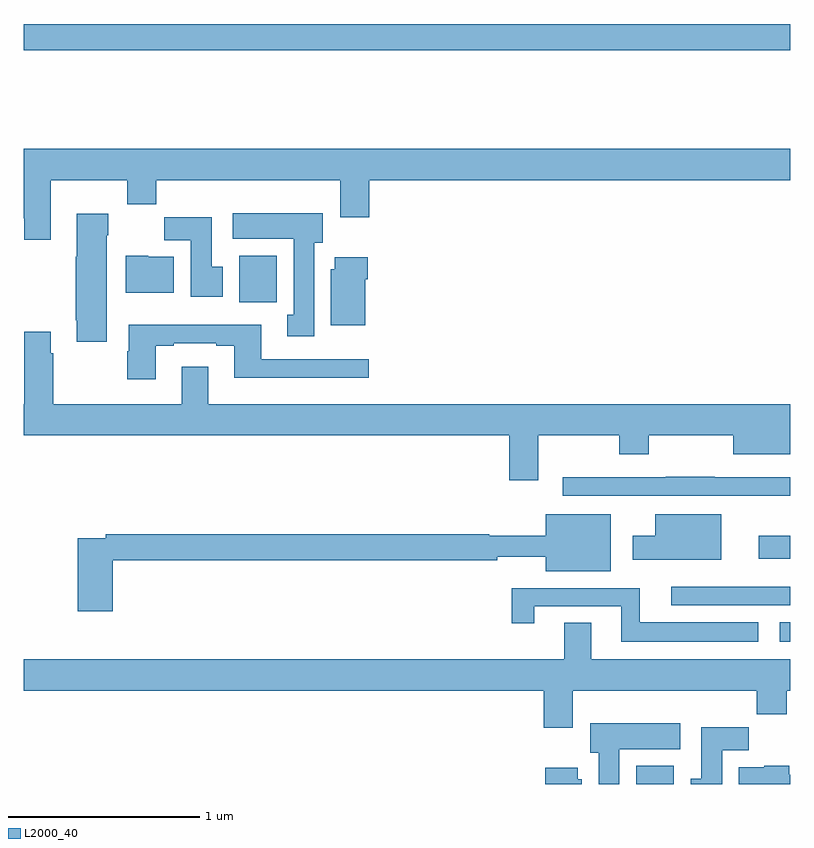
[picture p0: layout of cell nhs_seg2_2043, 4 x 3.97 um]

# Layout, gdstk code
import gdstk
lib = gdstk.Library(unit=1e-6, precision=1e-09)
def R(c, l, rs):  # rectangles x0, y0, x1, y1
    for r in rs: c.add(gdstk.rectangle(r[:2], r[2:], *l))
def P(c, l, *ps):  # polygons
    for p in ps: c.add(gdstk.Polygon(p, *l))
L2000_40 = (2000, 40)

nhs_seg2_2043 = lib.new_cell('nhs_seg2_2043')
R(nhs_seg2_2043, L2000_40, [(220.196,661.8,220.393,661.894), (220.947,662.543,221,662.644), (220.38,662.733,221,662.83), (220.836,662.975,221,663.097), (218.123,664.316,218.32,664.558), (217,665.632,221,665.768)])
P(nhs_seg2_2043, L2000_40, [(217.141,664.952),(217.54,664.952),(217.54,664.828),(217.691,664.828),(217.691,664.952),(218.651,664.952),(218.651,664.758),(218.804,664.758),(218.804,664.952),(221,664.952),(221,665.116),(217,665.116),(217,664.753),(217.001,664.753),(217.001,664.641),(217.141,664.641)],
  [(218.515,664.626),(218.56,664.626),(218.56,664.78),(218.091,664.78),(218.091,664.646),(218.408,664.646),(218.408,664.25),(218.375,664.25),(218.375,664.137),(218.515,664.137)],
  [(217.432,664.664),(217.44,664.664),(217.44,664.777),(217.277,664.777),(217.277,664.553),(217.27,664.553),(217.27,664.222),(217.277,664.222),(217.277,664.11),(217.432,664.11)],
  [(218.038,664.5),(217.981,664.5),(217.981,664.759),(217.732,664.759),(217.732,664.64),(217.871,664.64),(217.871,664.344),(218.038,664.344)],
  [(217.783,664.552),(217.65,664.552),(217.65,664.558),(217.532,664.558),(217.532,664.364),(217.783,664.364)],
  [(218.782,664.436),(218.795,664.436),(218.795,664.549),(218.624,664.549),(218.624,664.488),(218.603,664.488),(218.603,664.196),(218.782,664.196)],
  [(217.687,664.089),(217.783,664.089),(217.783,664.101),(218.003,664.101),(218.003,664.089),(218.099,664.089),(218.099,663.92),(218.8,663.92),(218.8,664.017),(218.239,664.017),(218.239,664.198),(217.547,664.198),(217.547,664.059),(217.54,664.059),(217.54,663.912),(217.687,663.912)],
  [(219.685,663.62),(220.108,663.62),(220.108,663.521),(220.263,663.521),(220.263,663.62),(220.703,663.62),(220.703,663.521),(221,663.521),(221,663.784),(217.963,663.784),(217.963,663.979),(217.823,663.979),(217.823,663.784),(217.154,663.784),(217.154,664.049),(217.141,664.049),(217.141,664.162),(217.001,664.162),(217.001,663.784),(217,663.784),(217,663.62),(219.533,663.62),(219.533,663.387),(219.685,663.387)],
  [(221,663.402),(220.607,663.402),(220.607,663.404),(220.351,663.404),(220.351,663.402),(219.813,663.402),(219.813,663.306),(220.738,663.306),(220.738,663.305),(221,663.305)],
  [(220.642,663.208),(220.295,663.208),(220.295,663.097),(220.178,663.097),(220.178,662.972),(220.642,662.972)],
  [(217.463,662.968),(219.47,662.968),(219.47,662.987),(219.725,662.987),(219.725,662.912),(220.063,662.912),(220.063,663.208),(219.725,663.208),(219.725,663.097),(219.429,663.097),(219.429,663.104),(217.426,663.104),(217.426,663.084),(217.28,663.084),(217.28,662.703),(217.463,662.703)],
  [(220.834,662.644),(220.216,662.644),(220.216,662.823),(219.547,662.823),(219.547,662.64),(219.664,662.64),(219.664,662.727),(220.118,662.727),(220.118,662.543),(220.834,662.543)],
  [(219.865,662.288),(220.825,662.288),(220.825,662.164),(220.982,662.164),(220.982,662.288),(221,662.288),(221,662.452),(219.961,662.452),(219.961,662.642),(219.821,662.642),(219.821,662.452),(217,662.452),(217,662.288),(219.713,662.288),(219.713,662.094),(219.865,662.094)],
  [(220.108,661.982),(220.426,661.982),(220.426,662.116),(219.956,662.116),(219.956,661.962),(220.001,661.962),(220.001,661.8),(220.108,661.8)],
  [(220.645,661.976),(220.784,661.976),(220.784,662.095),(220.535,662.095),(220.535,661.828),(220.481,661.828),(220.481,661.8),(220.645,661.8)],
  [(221,661.848),(220.997,661.848),(220.997,661.894),(220.866,661.894),(220.866,661.888),(220.733,661.888),(220.733,661.8),(221,661.8)],
  [(219.913,661.824),(219.892,661.824),(219.892,661.885),(219.722,661.885),(219.722,661.8),(219.913,661.8)])

lib.write_gds('nhs_seg2_2043.gds')
